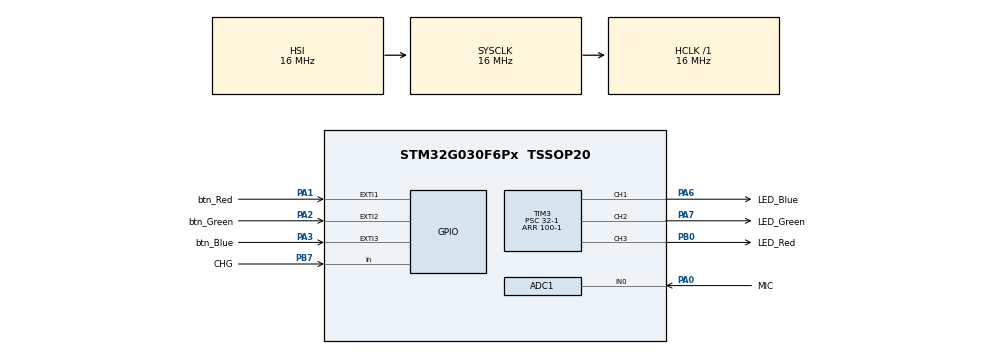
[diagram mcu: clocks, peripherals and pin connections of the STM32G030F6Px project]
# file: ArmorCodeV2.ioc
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ADC1.Channel-0\#ChannelRegularConversion=ADC_CHANNEL_0
ADC1.ClockPrescaler=ADC_CLOCK_SYNC_PCLK_DIV4
ADC1.NbrOfConversionFlag=1
ADC1.Rank-0\#ChannelRegularConversion=1
ADC1.SamplingTime-0\#ChannelRegularConversion=ADC_SAMPLINGTIME_COMMON_1
ADC1.SelectedChannel=ADC_CHANNEL_0
ADC1.master=1
Mcu.Family=STM32G0
Mcu.Name=STM32G030F6Px
Mcu.Package=TSSOP20
NVIC.ADC1_IRQn=true\:1\:0\:true\:false\:true\:true\:true\:true
NVIC.EXTI0_1_IRQn=true\:1\:0\:true\:false\:true\:true\:true\:true
NVIC.EXTI2_3_IRQn=true\:1\:0\:true\:false\:true\:true\:true\:true
NVIC.TIM1_BRK_UP_TRG_COM_IRQn=true\:1\:0\:true\:false\:true\:true\:true\:true
NVIC.TIM3_IRQn=true\:0\:0\:false\:false\:true\:true\:true\:true
PA0.GPIO_Label=MIC
PA0.Signal=SharedAnalog_PA0
PA1.GPIO_Label=btn_Red
PA1.GPIO_ModeDefaultEXTI=GPIO_MODE_IT_FALLING
PA1.GPIO_PuPd=GPIO_NOPULL
PA1.Signal=GPXTI1
PA13.Mode=Serial_Wire
PA13.Signal=SYS_SWDIO
PA14-BOOT0.Mode=Serial_Wire
PA14-BOOT0.Signal=SYS_SWCLK
PA14-BOOT0__PA15.StandardMode=true
PA2.GPIO_Label=btn_Green
PA2.GPIO_ModeDefaultEXTI=GPIO_MODE_IT_FALLING
PA2.GPIO_PuPd=GPIO_NOPULL
PA2.Signal=GPXTI2
PA3.GPIO_Label=btn_Blue
PA3.GPIO_ModeDefaultEXTI=GPIO_MODE_IT_FALLING
PA3.GPIO_PuPd=GPIO_NOPULL
PA3.Signal=GPXTI3
PA6.GPIO_Label=LED_Blue
PA6.Signal=S_TIM3_CH1
PA7.GPIO_Label=LED_Green
PA7.Signal=S_TIM3_CH2
PB0.GPIO_Label=LED_Red
PB0.Signal=S_TIM3_CH3
PB0__PB1__PB2__PA8.StandardMode=true
PB3__PB4__PB5__PB6.StandardMode=true
PB7.GPIO_Label=CHG
PB7.Signal=GPIO_Input
PB7__PB8.StandardMode=true
PC14-OSC32_IN\ (PC14)__PB9.StandardMode=true
ProjectManager.HeapSize=0x200
ProjectManager.StackSize=0x400
ProjectManager.TargetToolchain=CMake
RCC.AHBFreq_Value=16000000
RCC.CortexFreq_Value=16000000
RCC.EXTERNAL_CLOCK_VALUE=12288000
RCC.HCLKFreq_Value=16000000
RCC.HSE_VALUE=8000000
RCC.HSI_VALUE=16000000
RCC.LSE_VALUE=32768
RCC.SYSCLKFreq_VALUE=16000000
RCC.VCOOutputFreq_Value=128000000
SH.S_TIM3_CH1.0=TIM3_CH1,PWM Generation1 CH1
SH.S_TIM3_CH2.0=TIM3_CH2,PWM Generation2 CH2
SH.S_TIM3_CH3.0=TIM3_CH3,PWM Generation3 CH3
SH.SharedAnalog_PA0.0=GPIO_Analog
SH.SharedAnalog_PA0.1=ADC1_IN0,IN0
TIM1.Period=1000-1
TIM1.Prescaler=320-1
TIM3.Channel-PWM\ Generation1\ CH1=TIM_CHANNEL_1
TIM3.Channel-PWM\ Generation2\ CH2=TIM_CHANNEL_2
TIM3.Channel-PWM\ Generation3\ CH3=TIM_CHANNEL_3
TIM3.OCPolarity_1=TIM_OCPOLARITY_LOW
TIM3.OCPolarity_2=TIM_OCPOLARITY_LOW
TIM3.OCPolarity_3=TIM_OCPOLARITY_LOW
TIM3.Period=100-1
TIM3.Prescaler=32-1
VP_TIM1_VS_ClockSourceINT.Mode=Internal
VP_TIM3_VS_ClockSourceINT.Mode=Internal
board=custom

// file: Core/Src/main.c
/* USER CODE BEGIN Header */
/**
  ******************************************************************************
  * @file           : main.c
  * @brief          : Main program body
  ******************************************************************************
  * @attention
  *
  * <h2><center>&copy; Copyright (c) 2021 STMicroelectronics.
  * All rights reserved.</center></h2>
  *
  * This software component is licensed by ST under BSD 3-Clause license,
  * the "License"; You may not use this file except in compliance with the
  * License. You may obtain a copy of the License at:
  *                        opensource.org/licenses/BSD-3-Clause
  *
  ******************************************************************************
  */
/* USER CODE END Header */
#include "main.h"
#include "adc.h"
#include "tim.h"
#include "gpio.h"

/* USER CODE BEGIN PTD */

uint16_t MIC,tmp;  		//定义16位无符号整型变量MIC和tmp存储麦克风ADC采样值
uint16_t stat = 0;		//定义16位无符号整型变量stat存储PWM变化
uint8_t CHG;					//定义8位无符号整型变量CHG存储充电状态
uint8_t color;				//定义8位无符号整型变量color存储LED颜色
uint8_t light = 100;	//定义8位无符号整型变量light用于存储pwm占空比
uint8_t add = 0;			//定义8位无符号整型变量add用于存储加减状态

/* USER CODE END PTD */

void SystemClock_Config(void);
/* USER CODE BEGIN PFP */

void RED_Light();
void GREEN_Light();
void BLUE_Light();
void Light_OFF();
void RGB_Light();
void Charge_Status();		//声明各子函数

/* USER CODE END PFP */

int main(void)
{

  /* MCU Configuration--------------------------------------------------------*/

  /* Reset of all peripherals, Initializes the Flash interface and the Systick. */
  HAL_Init();

  /* Configure the system clock */
  SystemClock_Config();

  /* Initialize all configured peripherals */
  MX_GPIO_Init();
  MX_TIM1_Init();
  MX_ADC1_Init();
  MX_TIM3_Init();
  /* USER CODE BEGIN 2 */
	HAL_TIM_Base_Start_IT(&htim1);  // 开启定时器1中断，用于定时采样麦克风ADC
  /* USER CODE END 2 */

  /* Infinite loop */
  /* USER CODE BEGIN WHILE */

	RED_Light();				//开机默认亮红灯

  while (1)
  {
		RGB_Light();			//调用RGB子函数
		Charge_Status();	//调用充电状态子函数
		HAL_TIM_PWM_Start((TIM_HandleTypeDef *) &htim3, (uint32_t) TIM_CHANNEL_1);		//使能定时器3 CH1
		HAL_TIM_PWM_Start((TIM_HandleTypeDef *) &htim3, (uint32_t) TIM_CHANNEL_2);		//使能定时器3 CH2
		HAL_TIM_PWM_Start((TIM_HandleTypeDef *) &htim3, (uint32_t) TIM_CHANNEL_3);		//使能定时器3 CH3 用于RGB三通道的MOS管PWM控制

    /* USER CODE END WHILE */

  }
}

void SystemClock_Config(void)
{
  RCC_OscInitTypeDef RCC_OscInitStruct = {0};
  RCC_ClkInitTypeDef RCC_ClkInitStruct = {0};

  /** Configure the main internal regulator output voltage
  */
  HAL_PWREx_ControlVoltageScaling(PWR_REGULATOR_VOLTAGE_SCALE1);

  /** Initializes the RCC Oscillators according to the specified parameters
  * in the RCC_OscInitTypeDef structure.
  */
  RCC_OscInitStruct.OscillatorType = RCC_OSCILLATORTYPE_HSI;
  RCC_OscInitStruct.HSIState = RCC_HSI_ON;
  RCC_OscInitStruct.HSIDiv = RCC_HSI_DIV1;
  RCC_OscInitStruct.HSICalibrationValue = RCC_HSICALIBRATION_DEFAULT;
  RCC_OscInitStruct.PLL.PLLState = RCC_PLL_NONE;
  if (HAL_RCC_OscConfig(&RCC_OscInitStruct) != HAL_OK)
  {
    Error_Handler();
  }

  /** Initializes the CPU, AHB and APB buses clocks
  */
  RCC_ClkInitStruct.ClockType = RCC_CLOCKTYPE_HCLK|RCC_CLOCKTYPE_SYSCLK
                              |RCC_CLOCKTYPE_PCLK1;
  RCC_ClkInitStruct.SYSCLKSource = RCC_SYSCLKSOURCE_HSI;
  RCC_ClkInitStruct.AHBCLKDivider = RCC_SYSCLK_DIV1;
  RCC_ClkInitStruct.APB1CLKDivider = RCC_HCLK_DIV1;

  if (HAL_RCC_ClockConfig(&RCC_ClkInitStruct, FLASH_LATENCY_0) != HAL_OK)
  {
    Error_Handler();
  }
}

/* USER CODE BEGIN 4 */

void HAL_TIM_PeriodElapsedCallback(TIM_HandleTypeDef *htim)	//定时器中断服务函数
{
	if(htim->Instance == TIM1)					//若为定时器1
	{
		HAL_ADC_Start(&hadc1);						//ADC1启动转换
		MIC = HAL_ADC_GetValue(&hadc1);		//将ADC1的值赋给MIC
		HAL_ADC_Stop(&hadc1);							//ADC1停止转换
		if (MIC > tmp)	tmp = MIC;				//记录MIC的最大值

		if (MIC >= 3850)			//若MIC的ADC值大于3850则判断受到打击
		{
			switch (color)			//判断当前颜色
			{
				case 1:						//若为1红色
				{
					Light_OFF();
					HAL_Delay(40);
					RED_Light();
					HAL_Delay(40);
					Light_OFF();
					HAL_Delay(40);
					RED_Light();		//红色闪烁两次
					break;
				}
				case 2:						//若为2绿色
				{
					Light_OFF();
					HAL_Delay(40);
					GREEN_Light();
					HAL_Delay(40);
					Light_OFF();
					HAL_Delay(40);
					GREEN_Light();	//绿色闪烁两次
					break;
				}
				case 3:						//若为3蓝色
				{
					Light_OFF();
					HAL_Delay(40);
					BLUE_Light();
					HAL_Delay(40);
					Light_OFF();
					HAL_Delay(40);
					BLUE_Light();		//蓝色闪烁两次
					break;
				}

			}
		}
	}
}

void RED_Light() 			//红灯子函数
{
	color = 1;		 			//color赋1表示红色
	TIM3->CCR3 = 0;			//红色LED的MOS管PWM 100%
	TIM3->CCR2 = 100;		//绿色LED的MOS管PWM 0%
	TIM3->CCR1 = 100;	//蓝色LED的MOS管PWM 0%
}

void GREEN_Light() 		//绿灯子函数
{
	color = 2;					//color赋2表示绿色
	TIM3->CCR3 = 100;		//红色LED的MOS管PWM 0%
	TIM3->CCR2 = 0;			//绿色LED的MOS管PWM 100%
	TIM3->CCR1 = 100;		//蓝色LED的MOS管PWM 0%
}

void BLUE_Light()			//蓝灯子函数
{
	color = 3;					//color赋3表示蓝色
	TIM3->CCR3 = 100;		//红色LED的MOS管PWM 0%
	TIM3->CCR2 = 100;		//绿色LED的MOS管PWM 0%
	TIM3->CCR1 = 0;			//蓝色LED的MOS管PWM 100%
}

void Light_OFF()			//关灯子函数
{
	color = 0;       		//color赋0表示熄灭
	TIM3->CCR3 = 100;		//红色LED的MOS管PWM 0%
	TIM3->CCR2 = 100;		//绿色LED的MOS管PWM 0%
	TIM3->CCR1 = 100;		//蓝色LED的MOS管PWM 0%
}

void Charge_Status()	//充电呼吸灯子函数
{
	CHG = HAL_GPIO_ReadPin(GPIOB, GPIO_PIN_7);		//读取充电状态

	if (CHG == 1)				//若CHG为1则判断正在充电并启动绿色呼吸灯
	{
		color = 1;				//color赋1表示红色
		HAL_TIM_Base_Stop_IT((TIM_HandleTypeDef *) &htim1);	//禁用定时器1

		if(light == 105) 			//若light等于100
			{add = 0;}					//则add设为0减模式
		else if(light == 0) 	//若light等于0
			{add = 1;} 					//则add设为1加模式

		if(add == 0) 					//若add等于0减模式
			{light--;}					//则light自减
		else if(add == 1) 		//若add等于1加模式
			{light++;}					//则light自加

		TIM3->CCR3 = 100;			//红色LED的MOS管PWM 0%
		TIM3->CCR1 = 100;			//蓝色LED的MOS管PWM 0%
		TIM3->CCR2 = light;		//绿色LED的MOS管PWM为light
		HAL_Delay(15);				//延时10ms
	}

	else									//否则判断未在充电并恢复原状态
	{
		HAL_TIM_Base_Start_IT((TIM_HandleTypeDef *) &htim1);	//使能定时器1

		switch (color)			//判断当前状态
		{
			case 1:						//若为状态为1红色
			{
				RED_Light();		//则恢复红色状态
				break;
			}
			case 2:						//若状态为2绿色
			{
				GREEN_Light();	//则恢复绿色状态
				break;
			}
			case 3:						//若状态为3蓝色
			{
				BLUE_Light();		//则恢复蓝色状态
				break;
			}
		}
	}
}

void RGB_Light()		//RGB渐变子函数
{
	if (color == 2)		//若状态为2绿色
	{
		HAL_TIM_Base_Stop_IT((TIM_HandleTypeDef *) &htim1);	//禁用定时器1

		if (stat >= 50 && stat < 150)		//绿色到红色 light从100-0
		{
			if(light == 100) 			//若light等于100
				{add = 0;}					//则add设为0减模式
			else if(light == 0) 	//若light等于0
				{add = 1;} 					//则add设为1加模式

			if(add == 0) 					//若add等于0减模式
				{light--;}					//则light自减
			else if(add == 1) 		//若add等于1加模式
				{light++;}					//则light自加

			TIM3->CCR1 = 100;					//蓝色LED的MOS管PWM100-light
			TIM3->CCR2 = 100 - light;	//绿色LED的MOS管PWM为light
			TIM3->CCR3 = light;				//红色LED的MOS管PWM为0

			HAL_Delay(12);						//延时12ms
		}

		else if (stat>=200 && stat < 300)	//红色到蓝色 light从0-100
		{
			if(light == 100) 			//若light等于100
				{add = 0;}					//则add设为0减模式
			else if(light == 0) 	//若light等于0
				{add = 1;} 					//则add设为1加模式

			if(add == 0) 					//若add等于0减模式
				{light--;}					//则light自减
			else if(add == 1) 		//若add等于1加模式
				{light++;}					//则light自加

			TIM3->CCR1 = 100 - light;	//蓝色LED的MOS管PWM100-light
			TIM3->CCR2 = 100;					//绿色LED的MOS管PWM为light
			TIM3->CCR3 = light;				//红色LED的MOS管PWM为0

			HAL_Delay(12);						//延时12ms
		}

		else if (stat>=350 && stat < 450)	//蓝色到绿色 light从100-0
		{
			if(light == 100) 			//若light等于100
				{add = 0;}					//则add设为0减模式
			else if(light == 0) 	//若light等于0
				{add = 1;} 					//则add设为1加模式

			if(add == 0) 					//若add等于0减模式
				{light--;}					//则light自减
			else if(add == 1) 		//若add等于1加模式
				{light++;}					//则light自加

			TIM3->CCR1 = 100 - light;	//蓝色LED的MOS管PWM100-light
			TIM3->CCR2 = light;				//绿色LED的MOS管PWM为light
			TIM3->CCR3 = 100;					//红色LED的MOS管PWM为0

			HAL_Delay(12);						//延时12ms
		}

		if (stat >= 450)	//完成一个循环后
		{
			light = 100;		//light复位为100
			stat = 0;				//stat复位为0
		}
		else							//未完成一个循环时
		{
			stat++;					//stat自加
		}
	}
}

void HAL_GPIO_EXTI_Falling_Callback(uint16_t GPIO_Pin)	//外部中断回调函数
{
	if(GPIO_Pin == GPIO_PIN_1)	//若为外部中断1(红灯按钮)
		{
			RED_Light();						//调用红灯子函数
		}
	if(GPIO_Pin == GPIO_PIN_2)	//若为外部中断2(蓝灯按钮)
		{
			BLUE_Light();						//调用蓝灯子函数
		}
	if(GPIO_Pin == GPIO_PIN_3)	//若为外部中断3(绿灯按钮)
		{
			GREEN_Light();					//调用绿灯子函数(绿灯定义为RGB模式)
		}
}

/* USER CODE END 4 */

void Error_Handler(void)
{
  __disable_irq();
  while (1)
  {
  }
}
